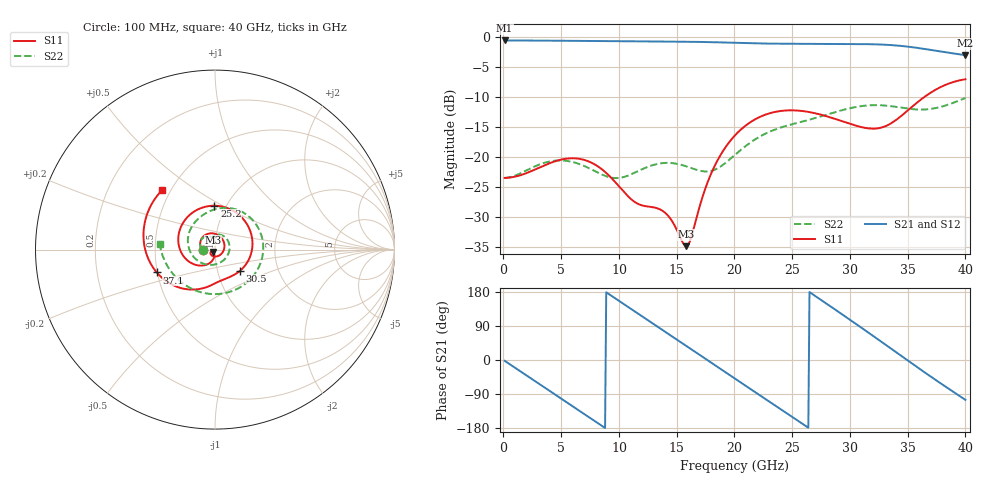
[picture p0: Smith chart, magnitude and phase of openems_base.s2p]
! B_s8_L1L3_bd_d200: L1→L3, back-drilled to 0.2 mm below L3, drill Ø0.2
! stackup: 8-layer 1.6 mm FR-4 (generic)
! ports: 1, 2
! openEMS 0.37.0, staircase, base mesh (dfine 0.035 mm), 595595 cells
# Hz S RI R 50
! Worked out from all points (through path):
!   400 points, 100 MHz to 40 GHz, reference 50 ohm
!   highest |S21| = -0.60 dB at 100 MHz (marker M1); lowest = -3.0 dB at 40 GHz (marker M2)
!   group delay of S21, straight-line fit = 57.2 ps
!   lowest |S11| = -34.8 dB at 15.8 GHz (marker M3), VSWR 1.04, Z = 48.8 - j1.36 ohm
!   |S11| at or under -10 dB: start of sweep to 36.45 GHz
!   |S22| runs from -23.5 to -10.2 dB; largest |S21 - S12| = 0.024
!   S11 on the Smith chart (normalised r, x): 100 MHz: 0.87, +0.00; 25.2 GHz: 0.88, +0.46; 30.5 GHz: 1.28, -0.31; 37.1 GHz: 0.50, -0.14; 40 GHz: 0.45, +0.37
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1e8  -0.0671 0.000183  0.9322 -0.0333  0.9321 -0.0332  -0.067 5.88e-05
1.7e9  -0.0717 0.00495  0.7661 -0.5306  0.7667 -0.5297  -0.0749 0.00551
3.7e9  -0.0822 0.027  0.233 -0.9  0.2352 -0.8995  -0.0834 0.0351
5.2e9  -0.0754 0.0596  -0.2562 -0.8915  -0.2531 -0.8924  -0.0696 0.0625
6.8e9  -0.0358 0.0888  -0.694 -0.6118  -0.6913 -0.6151  -0.0415 0.0751
8.3e9  0.0194 0.0798  -0.9064 -0.1738  -0.9056 -0.1788  -0.0216 0.07
9.8e9  0.0519 0.0303  -0.8663 0.3102  -0.8682 0.3048  -0.0159 0.0649
1.17e10  0.0256 -0.0315  -0.4802 0.7802  -0.4861 0.7762  -0.00702 0.0765
1.34e10  -0.018 -0.0326  0.0477 0.912  0.0391 0.912  0.0272 0.0837
1.58e10  -0.0117 -0.0139  0.7177 0.5596  0.7114 0.568  0.0803 0.0245
1.79e10  -0.0198 -0.0669  0.8997 -0.0821  0.9015 -0.0707  0.0419 -0.0639
2.01e10  -0.1346 -0.0737  0.5696 -0.6854  0.5798 -0.6783  -0.0746 -0.0745
2.26e10  -0.1978 0.1047  -0.1689 -0.8631  -0.1561 -0.8671  -0.1508 0.0365
2.52e10  -0.00323 0.2445  -0.7873 -0.3832  -0.7829 -0.3959  -0.1092 0.1553
2.67e10  0.139 0.189  -0.8721 0.0748  -0.8737 0.0617  -0.057 0.1991
2.84e10  0.2088 0.0386  -0.6682 0.5643  -0.6762 0.5521  0.0241 0.23
3.05e10  0.1399 -0.1176  -0.0874 0.8678  -0.1058 0.8626  0.1645 0.2022
3.19e10  0.0673 -0.1587  0.354 0.7923  0.3329 0.7993  0.2478 0.1072
3.34e10  0.00268 -0.187  0.7134 0.4726  0.7006 0.4928  0.2608 -0.053
3.52e10  -0.1204 -0.2228  0.8206 -0.0794  0.8261 -0.0565  0.1238 -0.2191
3.71e10  -0.3241 -0.1275  0.5396 -0.5567  0.5583 -0.5452  -0.1092 -0.2273
4e10  -0.2956 0.3308  -0.1843 -0.6797  -0.1697 -0.6901  -0.3083 0.0325
